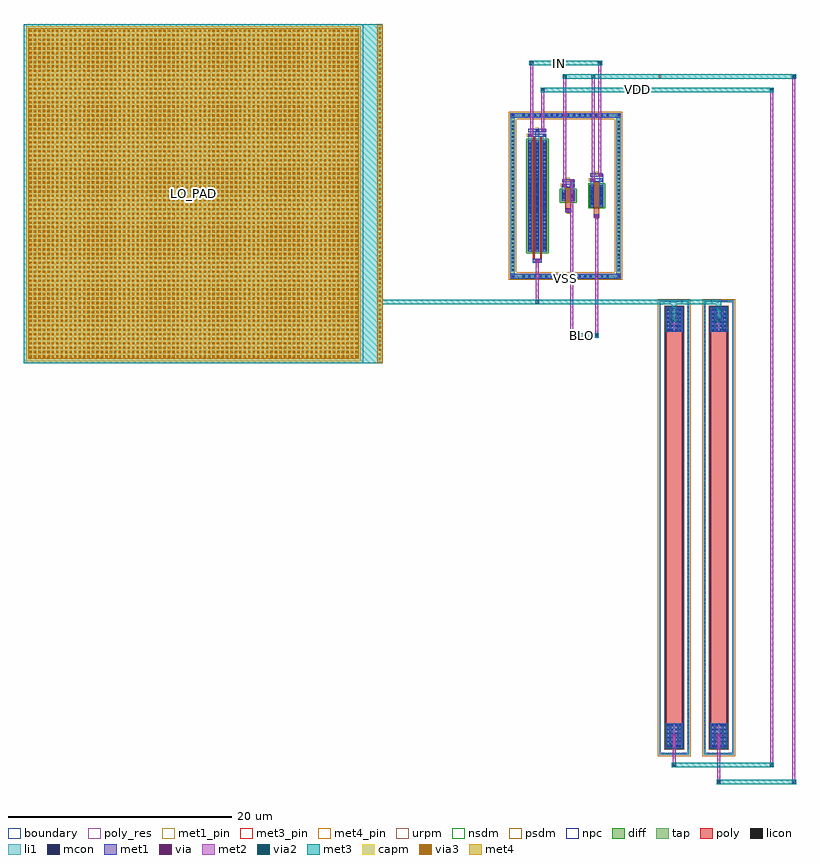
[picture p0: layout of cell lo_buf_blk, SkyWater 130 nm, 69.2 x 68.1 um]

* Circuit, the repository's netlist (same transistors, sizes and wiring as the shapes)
.subckt lo_buf_blk LO_PAD IN VDD VSS BLO
XClo LO_PAD LO_G sky130_fd_pr__cap_mim_m3_1 W=31 L=31 MF=1 m=1
XRlo1 LO_G VDD VSS sky130_fd_pr__res_xhigh_po_1p41 L=35.25 mult=1 m=1
XRlo2 LO_G VSS VSS sky130_fd_pr__res_xhigh_po_1p41 L=35.25 mult=1 m=1
XLOF VDD LO_G IN VSS sky130_fd_pr__nfet_01v8 W=20 L=0.15 nf=2 m=1
XLOB BLO BLO VSS VSS sky130_fd_pr__nfet_01v8 W=1 L=0.5 nf=1 m=1
XLOS IN BLO VSS VSS sky130_fd_pr__nfet_01v8 W=2 L=0.5 nf=1 m=1
.ends lo_buf_blk

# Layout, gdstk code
import gdstk
lib = gdstk.Library(unit=1e-6, precision=5e-09)
def R(c, l, rs):  # rectangles x0, y0, x1, y1
    for r in rs: c.add(gdstk.rectangle(r[:2], r[2:], *l))
def A(c, l, x, y, w, h, nx, ny, dx, dy):  # array of equal rectangles
    R(c, l, [(x+i*dx, y+j*dy, x+i*dx+w, y+j*dy+h) for i in range(nx) for j in range(ny)])
def P(c, l, *ps):  # polygons
    for p in ps: c.add(gdstk.Polygon(p, *l))
diff = (65, 20)
tap = (65, 44)
poly_res = (66, 13)
poly = (66, 20)
licon = (66, 44)
li1 = (67, 20)
mcon = (67, 44)
met1_pin = (68, 16)
met1 = (68, 20)
via = (68, 44)
met2 = (69, 20)
via2 = (69, 44)
met3_pin = (70, 16)
met3 = (70, 20)
via3 = (70, 44)
met4_pin = (71, 16)
met4 = (71, 20)
urpm = (79, 20)
capm = (89, 44)
nsdm = (93, 44)
psdm = (94, 20)
npc = (95, 20)
boundary = (235, 4)

lo_buf_blk = lib.new_cell('lo_buf_blk')
A(lo_buf_blk, diff, -0.405, -7.405, 0.41, 0.41, 16, 2, 0.5, 14.42)
A(lo_buf_blk, diff, -1.405, -6.825, 0.41, 0.41, 1, 40, 0, 0.34)
A(lo_buf_blk, diff, 8.095, -6.825, 0.41, 0.41, 1, 40, 0, 0.34)
R(lo_buf_blk, diff, [(-0.405,-7.405,7.505,-6.995), (-1.405,-6.825,-0.995,6.845), (8.095,-6.825,8.505,6.845), (0.135,-5,1.885,5), (5.68,-1,6.96,1), (3.14,-0.5,4.42,0.5), (-0.405,7.015,7.505,7.425)])
P(lo_buf_blk, diff, [(8.505,7.425),(-1.405,7.425),(-1.405,-6.995),(-0.995,-6.995),(-0.995,7.015),(8.095,7.015),(8.095,-6.995),(-0.995,-6.995),(-1.405,-6.995),(-1.405,-7.405),(8.505,-7.405)])
R(lo_buf_blk, tap, [(11.915,-50.085,14.625,-49.915), (15.915,-50.085,18.625,-49.915), (11.915,-49.915,12.085,-9.545), (14.455,-49.915,14.625,-9.545), (15.915,-49.915,16.085,-9.545), (18.455,-49.915,18.625,-9.545), (11.915,-9.545,14.625,-9.375), (15.915,-9.545,18.625,-9.375)])
R(lo_buf_blk, poly_res, [(12.565,-47.355,13.975,-12.105), (16.565,-47.355,17.975,-12.105)])
R(lo_buf_blk, poly, [(12.565,-49.435,13.975,-10.025), (16.565,-49.435,17.975,-10.025), (0.61,-5.98,1.41,-5.65), (0.845,-5.98,1.175,-5.65), (0.61,-5.65,0.76,-5.25), (1.26,-5.65,1.41,-5.25), (0.61,-5.25,0.76,5.25), (1.26,-5.25,1.41,5.25), (6.07,-1.98,6.57,-1.65), (6.155,-1.98,6.485,-1.65), (6.07,-1.65,6.57,-1.25), (3.53,-1.48,4.03,-1.15), (3.615,-1.48,3.945,-1.15), (6.07,-1.25,6.57,1.25), (3.53,-1.15,4.03,-0.75), (3.53,-0.75,4.03,0.75)])
A(lo_buf_blk, licon, 12.505, -50.085, 0.17, 0.17, 5, 2, 0.34, 40.54)
A(lo_buf_blk, licon, 16.505, -50.085, 0.17, 0.17, 5, 2, 0.34, 40.54)
A(lo_buf_blk, licon, 11.915, -49.535, 0.17, 0.17, 1, 117, 0, 0.34)
A(lo_buf_blk, licon, 14.455, -49.535, 0.17, 0.17, 1, 117, 0, 0.34)
A(lo_buf_blk, licon, 15.915, -49.535, 0.17, 0.17, 1, 117, 0, 0.34)
A(lo_buf_blk, licon, 18.455, -49.535, 0.17, 0.17, 1, 117, 0, 0.34)
A(lo_buf_blk, licon, -0.285, -7.285, 0.17, 0.17, 16, 2, 0.5, 14.42)
A(lo_buf_blk, licon, -1.285, -6.705, 0.17, 0.17, 1, 40, 0, 0.34)
A(lo_buf_blk, licon, 8.215, -6.705, 0.17, 0.17, 1, 40, 0, 0.34)
A(lo_buf_blk, licon, 0.275, -4.675, 0.17, 0.17, 3, 28, 0.65, 0.34)
A(lo_buf_blk, licon, 5.82, -0.595, 0.17, 0.17, 1, 4, 0, 0.34)
A(lo_buf_blk, licon, 6.65, -0.595, 0.17, 0.17, 1, 4, 0, 0.34)
R(lo_buf_blk, licon, [(12.82,-49.355,13.01,-47.355), (13.53,-49.355,13.72,-47.355), (16.82,-49.355,17.01,-47.355), (17.53,-49.355,17.72,-47.355), (12.82,-12.105,13.01,-10.105), (13.53,-12.105,13.72,-10.105), (16.82,-12.105,17.01,-10.105), (17.53,-12.105,17.72,-10.105), (0.925,-5.9,1.095,-5.73), (6.235,-1.9,6.405,-1.73), (3.695,-1.4,3.865,-1.23), (3.28,-0.085,3.45,0.085), (4.11,-0.085,4.28,0.085)])
A(lo_buf_blk, li1, -0.365, -7.365, 0.33, 0.33, 16, 2, 0.5, 14.42)
A(lo_buf_blk, li1, -1.365, -6.785, 0.33, 0.33, 1, 40, 0, 0.34)
A(lo_buf_blk, li1, 8.135, -6.785, 0.33, 0.33, 1, 40, 0, 0.34)
A(lo_buf_blk, li1, 0.195, -5, 0.33, 10, 3, 1, 0.65, 0)
A(lo_buf_blk, li1, 0.275, -4.765, 0.17, 0.17, 3, 27, 0.65, 0.36)
A(lo_buf_blk, li1, 0.275, -4.765, 0.17, 9.53, 3, 1, 0.65, 0)
A(lo_buf_blk, li1, 0.195, -4.755, 0.33, 0.33, 3, 28, 0.65, 0.34)
A(lo_buf_blk, li1, 5.82, -0.805, 0.17, 0.17, 1, 5, 0, 0.36)
A(lo_buf_blk, li1, 6.65, -0.805, 0.17, 0.17, 1, 5, 0, 0.36)
A(lo_buf_blk, li1, 5.74, -0.675, 0.33, 0.33, 1, 4, 0, 0.34)
A(lo_buf_blk, li1, 6.57, -0.675, 0.33, 0.33, 1, 4, 0, 0.34)
R(lo_buf_blk, li1, [(11.915,-50.085,14.625,-49.915), (15.915,-50.085,18.625,-49.915), (11.915,-49.915,12.085,-9.545), (14.455,-49.915,14.625,-9.545), (15.915,-49.915,16.085,-9.545), (18.455,-49.915,18.625,-9.545), (12.565,-49.435,13.975,-47.275), (16.565,-49.435,17.975,-47.275), (12.565,-12.185,13.975,-10.025), (16.565,-12.185,17.975,-10.025), (11.915,-9.545,14.625,-9.375), (15.915,-9.545,18.625,-9.375), (-1.405,-7.405,-0.995,-6.995), (8.095,-7.405,8.505,-6.995), (-0.365,-7.365,7.465,-7.035), (-1.285,-7.285,-1.115,-7.115), (-1.285,-7.285,-1.115,-7.115), (8.215,-7.285,8.385,-7.115), (8.215,-7.285,8.385,-7.115), (-1.405,-6.995,-0.995,7.015), (8.095,-6.995,8.505,7.015), (0.845,-5.98,1.175,-5.65), (6.155,-1.98,6.485,-1.65), (3.615,-1.48,3.945,-1.15), (5.74,-1,6.07,1), (6.57,-1,6.9,1), (5.82,-0.805,5.99,0.805), (6.65,-0.805,6.82,0.805), (3.2,-0.5,3.53,0.5), (4.03,-0.5,4.36,0.5), (3.28,-0.265,3.45,-0.095), (3.28,-0.265,3.45,0.265), (4.11,-0.265,4.28,-0.095), (4.11,-0.265,4.28,0.265), (3.2,-0.165,3.53,0.165), (4.03,-0.165,4.36,0.165), (3.28,0.095,3.45,0.265), (4.11,0.095,4.28,0.265), (3.2,0.5,3.53,1.015), (4.03,0.5,4.36,1.445), (3.28,0.845,3.45,1.015), (5.74,1,6.07,1.515), (6.57,1,6.9,1.945), (4.11,1.275,4.28,1.445), (5.82,1.345,5.99,1.515), (6.65,1.775,6.82,1.945), (0.195,5,0.525,5.515), (0.845,5,1.175,5.945), (1.495,5,1.825,5.515), (0.275,5.345,0.445,5.515), (1.575,5.345,1.745,5.515), (0.925,5.775,1.095,5.945), (-1.405,7.015,-0.995,7.425), (8.095,7.015,8.505,7.425), (-0.365,7.055,7.465,7.385), (-1.285,7.135,-1.115,7.305), (-1.285,7.135,-1.115,7.305), (8.215,7.135,8.385,7.305), (8.215,7.135,8.385,7.305)])
A(lo_buf_blk, mcon, 12.645, -49.34, 0.17, 0.17, 4, 6, 0.36, 0.36)
A(lo_buf_blk, mcon, 16.645, -49.34, 0.17, 0.17, 4, 6, 0.36, 0.36)
A(lo_buf_blk, mcon, 12.645, -12.095, 0.17, 0.17, 4, 6, 0.36, 0.36)
A(lo_buf_blk, mcon, 16.645, -12.095, 0.17, 0.17, 4, 6, 0.36, 0.36)
A(lo_buf_blk, mcon, -0.285, -7.285, 0.17, 0.17, 16, 2, 0.5, 14.42)
A(lo_buf_blk, mcon, 0.275, -4.765, 0.17, 0.17, 3, 27, 0.65, 0.36)
A(lo_buf_blk, mcon, 5.82, -0.805, 0.17, 0.17, 1, 5, 0, 0.36)
A(lo_buf_blk, mcon, 6.65, -0.805, 0.17, 0.17, 1, 5, 0, 0.36)
R(lo_buf_blk, mcon, [(-1.285,-7.285,-1.115,-7.115), (8.215,-7.285,8.385,-7.115), (0.925,-5.9,1.095,-5.73), (6.235,-1.9,6.405,-1.73), (3.695,-1.4,3.865,-1.23), (3.28,-0.265,3.45,-0.095), (4.11,-0.265,4.28,-0.095), (3.28,0.095,3.45,0.265), (4.11,0.095,4.28,0.265), (3.28,0.845,3.45,1.015), (4.11,1.275,4.28,1.445), (5.82,1.345,5.99,1.515), (6.65,1.775,6.82,1.945), (0.275,5.345,0.445,5.515), (1.575,5.345,1.745,5.515), (0.925,5.775,1.095,5.945), (-1.285,7.135,-1.115,7.305), (8.215,7.135,8.385,7.305)])
R(lo_buf_blk, met1_pin, [(3.415,-7.54,3.685,-7.27), (0.875,-6.115,1.145,-5.845), (6.185,-2.115,6.455,-1.845), (3.645,-1.615,3.915,-1.345), (3.085,0.795,3.355,1.065), (5.625,1.295,5.895,1.565), (3.645,1.37,3.915,1.64), (6.185,1.87,6.455,2.14), (0.08,5.295,0.35,5.565), (0.875,5.87,1.145,6.14)])
A(lo_buf_blk, met1, -0.345, -7.345, 0.29, 0.29, 16, 2, 0.5, 14.42)
A(lo_buf_blk, met1, 0.215, -5, 0.29, 10, 3, 1, 0.65, 0)
A(lo_buf_blk, met1, 0.215, -4.825, 0.29, 0.29, 3, 27, 0.65, 0.36)
A(lo_buf_blk, met1, 5.76, -0.865, 0.29, 0.29, 1, 5, 0, 0.36)
A(lo_buf_blk, met1, 6.59, -0.865, 0.29, 0.29, 1, 5, 0, 0.36)
R(lo_buf_blk, met1, [(12.615,-49.405,13.925,-47.3), (16.615,-49.405,17.925,-47.3), (12.615,-12.16,13.925,-10.055), (16.615,-12.16,17.925,-10.055), (-1.405,-7.405,-0.995,-6.995), (-1.405,-7.405,-0.995,-6.995), (-0.995,-7.405,8.095,-6.995), (8.095,-7.405,8.505,-6.995), (8.095,-7.405,8.505,-6.995), (-1.345,-7.345,-1.055,-7.055), (8.155,-7.345,8.445,-7.055), (0.61,-5.98,1.41,-5.65), (0.865,-5.96,1.155,-5.67), (6.07,-1.98,6.57,-1.65), (6.175,-1.96,6.465,-1.67), (3.53,-1.48,4.03,-1.15), (3.635,-1.46,3.925,-1.17), (5.76,-1,6.05,1), (6.59,-1,6.88,1), (3.22,-0.5,3.51,0.5), (4.05,-0.5,4.34,0.5), (3.22,-0.325,3.51,-0.035), (4.05,-0.325,4.34,-0.035), (3.22,0.035,3.51,0.325), (4.05,0.035,4.34,0.325), (3.22,0.785,3.51,1.075), (3.22,0.785,4.34,1.075), (3.22,1.215,4.34,1.505), (4.05,1.215,4.34,1.505), (5.76,1.285,6.05,1.575), (5.76,1.285,6.88,1.575), (5.76,1.715,6.88,2.005), (6.59,1.715,6.88,2.005), (0.215,5.285,0.505,5.575), (0.215,5.285,1.805,5.575), (1.515,5.285,1.805,5.575), (0.215,5.715,1.805,6.005), (0.865,5.715,1.155,6.005), (-1.405,7.015,-0.995,7.425), (-1.405,7.015,-0.995,7.425), (-0.995,7.015,8.095,7.425), (8.095,7.015,8.505,7.425), (8.095,7.015,8.505,7.425), (-1.345,7.075,-1.055,7.365), (8.155,7.075,8.445,7.365)])
R(lo_buf_blk, via, [(13.195,-48.425,13.345,-48.275), (17.195,-48.425,17.345,-48.275), (13.195,-11.175,13.345,-11.025), (17.195,-11.175,17.345,-11.025), (0.935,-5.895,1.085,-5.745), (6.245,-1.895,6.395,-1.745), (3.705,-1.395,3.855,-1.245), (3.405,0.855,3.555,1.005), (4.005,1.285,4.155,1.435), (5.945,1.355,6.095,1.505), (6.545,1.785,6.695,1.935), (0.425,5.355,0.575,5.505), (1.425,5.785,1.575,5.935), (3.405,7.145,3.555,7.295)])
R(lo_buf_blk, met2, [(17.085,-52.64,17.455,-52.36), (23.815,-52.64,24.185,-52.36), (23.87,-52.63,24.13,10.83), (17.14,-52.625,17.4,-48.215), (13.085,-51.14,13.455,-50.86), (21.815,-51.14,22.185,-50.86), (13.14,-51.135,13.4,-48.225), (21.87,-51.13,22.13,9.63), (13.11,-48.48,13.43,-48.22), (17.11,-48.48,17.43,-48.22), (3.895,-12.64,4.265,-12.36), (6.135,-12.64,6.505,-12.36), (3.95,-12.63,4.21,1.49), (6.19,-12.63,6.45,-1.69), (13.085,-11.24,13.455,-10.96), (17.085,-11.24,17.455,-10.96), (13.11,-11.23,13.43,-10.97), (17.11,-11.23,17.43,-10.97), (0.825,-9.64,1.195,-9.36), (0.88,-9.63,1.14,-5.69), (0.85,-5.95,1.17,-5.69), (6.16,-1.95,6.48,-1.69), (3.62,-1.45,3.94,-1.19), (3.65,-1.45,4.21,-1.19), (3.35,0.795,3.61,10.825), (3.32,0.8,3.64,1.06), (3.92,1.23,4.24,1.49), (5.89,1.295,6.15,10.825), (5.86,1.3,6.18,1.56), (6.46,1.73,6.78,1.99), (6.49,1.73,6.75,12.03), (0.37,5.295,0.63,12.025), (0.34,5.3,0.66,5.56), (1.34,5.73,1.66,5.99), (1.37,5.73,1.63,9.63), (3.32,7.09,3.64,7.35), (1.315,9.36,1.685,9.64), (21.815,9.36,22.185,9.64), (3.295,10.56,3.665,10.84), (5.835,10.56,6.205,10.84), (23.815,10.56,24.185,10.84), (0.315,11.76,0.685,12.04), (6.435,11.76,6.805,12.04)])
R(lo_buf_blk, via2, [(17.17,-52.6,17.37,-52.4), (23.9,-52.6,24.1,-52.4), (13.17,-51.1,13.37,-50.9), (21.9,-51.1,22.1,-50.9), (3.98,-12.6,4.18,-12.4), (6.22,-12.6,6.42,-12.4), (13.17,-11.2,13.37,-11), (17.17,-11.2,17.37,-11), (0.91,-9.6,1.11,-9.4), (1.4,9.4,1.6,9.6), (21.9,9.4,22.1,9.6), (3.38,10.6,3.58,10.8), (5.92,10.6,6.12,10.8), (23.9,10.6,24.1,10.8), (0.4,11.8,0.6,12), (6.52,11.8,6.72,12)])
R(lo_buf_blk, met3_pin, [(4.87,-12.63,5.13,-12.37), (9.87,9.37,10.13,9.63), (11.87,10.57,12.13,10.83), (2.87,11.77,3.13,12.03)])
R(lo_buf_blk, met3, [(17.065,-52.7,24.195,-52.3), (17.105,-52.665,17.435,-52.335), (23.835,-52.665,24.165,-52.335), (13.065,-51.2,22.195,-50.8), (13.105,-51.165,13.435,-50.835), (21.835,-51.165,22.165,-50.835), (-45,-15,-12.84,15.4), (3.88,-12.7,6.52,-12.3), (3.915,-12.665,4.245,-12.335), (6.155,-12.665,6.485,-12.335), (13.07,-11.3,13.47,-9.3), (17.07,-11.3,17.47,-9.3), (13.105,-11.265,13.435,-10.935), (17.105,-11.265,17.435,-10.935), (-13.305,-9.7,17.465,-9.3), (0.845,-9.665,1.175,-9.335), (1.3,9.3,22.2,9.7), (1.335,9.335,1.665,9.665), (21.835,9.335,22.165,9.665), (3.28,10.5,24.2,10.9), (3.315,10.535,3.645,10.865), (5.855,10.535,6.185,10.865), (23.835,10.535,24.165,10.865), (0.3,11.7,6.82,12.1), (0.335,11.735,0.665,12.065), (6.455,11.735,6.785,12.065)])
A(lo_buf_blk, via3, -13.2, -14.7, 0.2, 0.2, 1, 75, 0, 0.4)
A(lo_buf_blk, via3, -44.5, -14.5, 0.2, 0.2, 74, 74, 0.4, 0.4)
R(lo_buf_blk, met4_pin, [(-29.93,0.07,-29.67,0.33)])
R(lo_buf_blk, met4, [(-13.34,-14.94,-12.86,15.34), (-44.605,-14.605,-14.995,15.005)])
R(lo_buf_blk, urpm, [(12.365,-49.635,14.175,-9.825), (16.365,-49.635,18.175,-9.825)])
R(lo_buf_blk, capm, [(-44.8,-14.8,-14.8,15.2)])
R(lo_buf_blk, nsdm, [(0.005,-5.13,2.015,5.13), (5.55,-1.13,7.09,1.13), (3.01,-0.63,4.55,0.63)])
R(lo_buf_blk, psdm, [(11.79,-50.21,14.75,-9.25), (15.79,-50.21,18.75,-9.25)])
P(lo_buf_blk, psdm, [(8.635,7.555),(-1.535,7.555),(-1.535,-6.865),(-0.865,-6.865),(-0.865,6.885),(7.965,6.885),(7.965,-6.865),(-0.865,-6.865),(-1.535,-6.865),(-1.535,-7.535),(8.635,-7.535)])
R(lo_buf_blk, npc, [(12.47,-49.53,14.07,-9.93), (16.47,-49.53,18.07,-9.93), (12.72,-49.455,13.11,-47.255), (13.43,-49.455,13.82,-47.255), (16.72,-49.455,17.11,-47.255), (17.43,-49.455,17.82,-47.255), (12.72,-12.205,13.11,-10.005), (13.43,-12.205,13.82,-10.005), (16.72,-12.205,17.11,-10.005), (17.43,-12.205,17.82,-10.005), (0.825,-6,1.195,-5.63), (0.825,-6,1.195,-5.63), (6.135,-2,6.505,-1.63), (6.135,-2,6.505,-1.63), (3.595,-1.5,3.965,-1.13), (3.595,-1.5,3.965,-1.13)])
R(lo_buf_blk, boundary, [(12,-50,14.54,-9.46), (16,-50,18.54,-9.46), (-45,-15,-14.6,15.4)])
lo_buf_blk.add(gdstk.Label('LO_PAD', (-29.8,0.2), layer=71, texttype=5))
lo_buf_blk.add(gdstk.Label('IN', (3,11.9), layer=70, texttype=5))
lo_buf_blk.add(gdstk.Label('VDD', (10,9.5), layer=70, texttype=5))
lo_buf_blk.add(gdstk.Label('VSS', (12,10.7), layer=70, texttype=5))
lo_buf_blk.add(gdstk.Label('BLO', (5,-12.5), layer=70, texttype=5))
lo_buf_blk.add(gdstk.Label('VSS', (3.55,-7.405), layer=68, texttype=5))

lib.write_gds('lo_buf_blk.gds')
